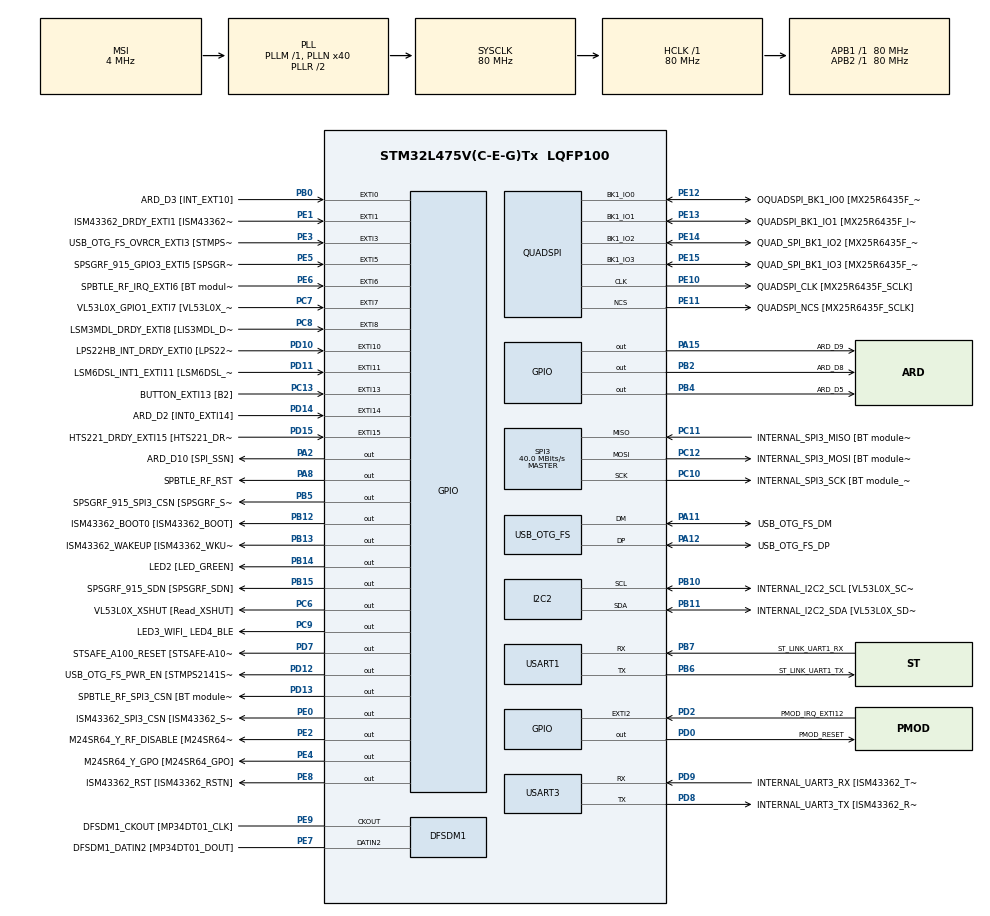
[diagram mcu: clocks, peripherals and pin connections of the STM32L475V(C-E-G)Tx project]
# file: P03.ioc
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I2C2.Timing=0x10909CEC
Mcu.Family=STM32L4
Mcu.Name=STM32L475V(C-E-G)Tx
Mcu.Package=LQFP100
NVIC.EXTI15_10_IRQn=true\:0\:0\:false\:false\:true\:true\:true\:true
NVIC.EXTI9_5_IRQn=true\:0\:0\:false\:false\:true\:true\:true\:true
NVIC.PriorityGroup=NVIC_PRIORITYGROUP_4
PA0.GPIO_Label=ARD_D1 [UART4_TX]
PA0.Signal=UART4_TX
PA1.GPIO_Label=ARD_D0 [UART4_RX]
PA1.Signal=UART4_RX
PA10.GPIO_Label=USB_OTG_FS_ID
PA10.Signal=USB_OTG_FS_ID
PA11.GPIO_Label=USB_OTG_FS_DM
PA11.Mode=Device_Only
PA11.Signal=USB_OTG_FS_DM
PA12.GPIO_Label=USB_OTG_FS_DP
PA12.Mode=Device_Only
PA12.Signal=USB_OTG_FS_DP
PA13\ (JTMS-SWDIO).GPIO_Label=SYS_JTMS_SWDIO
PA13\ (JTMS-SWDIO).Mode=Serial_Wire
PA13\ (JTMS-SWDIO).Signal=SYS_JTMS-SWDIO
PA14\ (JTCK-SWCLK).GPIO_Label=SYS_JTCK_SWCLK
PA14\ (JTCK-SWCLK).Mode=Serial_Wire
PA14\ (JTCK-SWCLK).Signal=SYS_JTCK-SWCLK
PA15\ (JTDI).GPIO_Label=ARD_D9
PA15\ (JTDI).Signal=GPIO_Output
PA2.GPIO_Label=ARD_D10 [SPI_SSN]
PA2.Signal=GPIO_Output
PA3.GPIO_Label=ARD_D4
PA3.Signal=S_TIM2_CH4
PA4.GPIO_Label=ARD_D7
PA4.Signal=ADCx_IN9
PA5.GPIO_Label=ARD_D13 [SPI1_SCK]
PA5.Signal=SPI1_SCK
PA6.GPIO_Label=ARD_D12 [SPI1_MISO]
PA6.Signal=SPI1_MISO
PA7.GPIO_Label=ARD_D11 [SPI1_MOSI]
PA7.Signal=SPI1_MOSI
PA8.GPIO_Label=SPBTLE_RF_RST
PA8.Signal=GPIO_Output
PA9.GPIO_Label=USB_OTG_FS_VBUS [STMPS2141STR_OUT]
PA9.Signal=USB_OTG_FS_VBUS
PB0.GPIO_Label=ARD_D3 [INT_EXT10]
PB0.Signal=GPXTI0
PB1.GPIO_Label=ARD_D6 [ADC1_IN6]
PB1.Signal=ADCx_IN16
PB10.GPIO_Label=INTERNAL_I2C2_SCL [VL53L0X_SCL]
PB10.GPIO_Pu=GPIO_PULLUP
PB10.Mode=I2C
PB10.Signal=I2C2_SCL
PB11.GPIO_Label=INTERNAL_I2C2_SDA [VL53L0X_SDA]
PB11.GPIO_Pu=GPIO_PULLUP
PB11.Mode=I2C
PB11.Signal=I2C2_SDA
PB12.GPIO_Label=ISM43362_BOOT0 [ISM43362_BOOT]
PB12.Signal=GPIO_Output
PB13.GPIO_Label=ISM43362_WAKEUP [ISM43362_WKUP]
PB13.Signal=GPIO_Output
PB14.GPIO_Label=LED2 [LED_GREEN]
PB14.Signal=GPIO_Output
PB15.GPIO_Label=SPSGRF_915_SDN [SPSGRF_SDN]
PB15.Signal=GPIO_Output
PB2.GPIO_Label=ARD_D8
PB2.Signal=GPIO_Output
PB3\ (JTDO-TRACESWO).GPIO_Label=SYS_JTD0_SWO
PB3\ (JTDO-TRACESWO).Signal=SYS_JTDO-SWO
PB4\ (NJTRST).GPIO_Label=ARD_D5
PB4\ (NJTRST).Signal=GPIO_Output
PB5.GPIO_Label=SPSGRF_915_SPI3_CSN [SPSGRF_SPI_CS]
PB5.PinState=GPIO_PIN_SET
PB5.Signal=GPIO_Output
PB6.GPIO_Label=ST_LINK_UART1_TX
PB6.Mode=Asynchronous
PB6.Signal=USART1_TX
PB7.GPIO_Label=ST_LINK_UART1_RX
PB7.Mode=Asynchronous
PB7.Signal=USART1_RX
PB8.GPIO_Label=ARD_D15 [I2C1_SCL]
PB8.Signal=I2C1_SCL
PB9.GPIO_Label=ARD_D14 [I2C1_SDA]
PB9.Signal=I2C1_SDA
PC0.GPIO_Label=ARD_A5 [ADC]
PC0.Signal=ADCx_IN1
PC1.GPIO_Label=ARD_A4 [ADC]
PC1.Signal=ADCx_IN2
PC10.GPIO_Label=INTERNAL_SPI3_SCK [BT module_SPI_SCLK] [ISM43362_SCK]
PC10.Mode=Full_Duplex_Master
PC10.Signal=SPI3_SCK
PC11.GPIO_Label=INTERNAL_SPI3_MISO [BT module_SPI_MISO] [ISM43362_MISO]
PC11.Mode=Full_Duplex_Master
PC11.Signal=SPI3_MISO
PC12.GPIO_Label=INTERNAL_SPI3_MOSI [BT module_SPI_MOSI] [ISM43362_MOSI]
PC12.Mode=Full_Duplex_Master
PC12.Signal=SPI3_MOSI
PC13.GPIO_Label=BUTTON_EXTI13 [B2]
PC13.GPIO_ModeDefaultEXTI=GPIO_MODE_IT_FALLING
PC13.Signal=GPXTI13
PC14-OSC32_IN\ (PC14).Mode=LSE-External-Oscillator
PC14-OSC32_IN\ (PC14).Signal=RCC_OSC32_IN
PC15-OSC32_OUT\ (PC15).Mode=LSE-External-Oscillator
PC15-OSC32_OUT\ (PC15).Signal=RCC_OSC32_OUT
PC2.GPIO_Label=ARD_A3 [ADC]
PC2.Signal=ADCx_IN3
PC3.GPIO_Label=ARD_A2 [ADC]
PC3.Signal=ADCx_IN4
PC4.GPIO_Label=ARD_A1 [ADC]
PC4.Signal=ADCx_IN13
PC5.GPIO_Label=ARD_A0 [ADC]
PC5.Signal=ADCx_IN14
PC6.GPIO_Label=VL53L0X_XSHUT [Read_XSHUT]
PC6.Signal=GPIO_Output
PC7.GPIO_Label=VL53L0X_GPIO1_EXTI7 [VL53L0X_GPIO1]
PC7.Signal=GPXTI7
PC8.GPIO_Label=LSM3MDL_DRDY_EXTI8 [LIS3MDL_DRDY]
PC8.Signal=GPXTI8
PC9.GPIO_Label=LED3_WIFI_ LED4_BLE
PC9.Signal=GPIO_Output
PD0.GPIO_Label=PMOD_RESET
PD0.Signal=GPIO_Output
PD1.GPIO_Label=PMOD_SPI2_SCK
PD1.Signal=SPI2_SCK
PD10.GPIO_Label=LPS22HB_INT_DRDY_EXTI0 [LPS22HB_INT_DRDY] 
PD10.Signal=GPXTI10
PD11.GPIO_Label=LSM6DSL_INT1_EXTI11 [LSM6DSL_INT1]
PD11.Signal=GPXTI11
PD12.GPIO_Label=USB_OTG_FS_PWR_EN [STMPS2141STR_EN]
PD12.Signal=GPIO_Output
PD13.GPIO_Label=SPBTLE_RF_SPI3_CSN [BT module_SPI_CS]
PD13.PinState=GPIO_PIN_SET
PD13.Signal=GPIO_Output
PD14.GPIO_Label=ARD_D2 [INT0_EXTI14]
PD14.Signal=GPXTI14
PD15.GPIO_Label=HTS221_DRDY_EXTI15 [HTS221_DRDY]
PD15.Signal=GPXTI15
PD2.GPIO_Label=PMOD_IRQ_EXTI12
PD2.Signal=GPXTI2
PD3.GPIO_Label=PMOD_UART2_CTS
PD3.Signal=USART2_CTS
PD4.GPIO_Label=PMOD_UART2_RTS
PD4.Signal=USART2_RTS
PD5.GPIO_Label=PMOD_UART2_TX
PD5.Signal=USART2_TX
PD6.GPIO_Label=PMOD_UART2_RX
PD6.Signal=USART2_RX
PD7.GPIO_Label=STSAFE_A100_RESET [STSAFE-A100_RESET]
PD7.Signal=GPIO_Output
PD8.GPIO_Label=INTERNAL_UART3_TX [ISM43362_RX]
PD8.Mode=Asynchronous
PD8.Signal=USART3_TX
PD9.GPIO_Label=INTERNAL_UART3_RX [ISM43362_TX]
PD9.Mode=Asynchronous
PD9.Signal=USART3_RX
PE0.GPIO_Label=ISM43362_SPI3_CSN [ISM43362_SSN]
PE0.PinState=GPIO_PIN_SET
PE0.Signal=GPIO_Output
PE1.GPIO_Label=ISM43362_DRDY_EXTI1 [ISM43362_DATARDY]
PE1.Signal=GPXTI1
PE10.GPIO_Label=QUADSPI_CLK [MX25R6435F_SCLK]
PE10.Mode=Single Bank
PE10.Signal=QUADSPI_CLK
PE11.GPIO_Label=QUADSPI_NCS [MX25R6435F_SCLK]
PE11.Mode=Single Bank
PE11.Signal=QUADSPI_NCS
PE12.GPIO_Label=OQUADSPI_BK1_IO0 [MX25R6435F_IO0]
PE12.Mode=Single Bank
PE12.Signal=QUADSPI_BK1_IO0
PE13.GPIO_Label=QUADSPI_BK1_IO1 [MX25R6435F_IO1]
PE13.Mode=Single Bank
PE13.Signal=QUADSPI_BK1_IO1
PE14.GPIO_Label=QUAD_SPI_BK1_IO2 [MX25R6435F_IO2]
PE14.Mode=Single Bank
PE14.Signal=QUADSPI_BK1_IO2
PE15.GPIO_Label=QUAD_SPI_BK1_IO3 [MX25R6435F_IO3]
PE15.Mode=Single Bank
PE15.Signal=QUADSPI_BK1_IO3
PE2.GPIO_Label=M24SR64_Y_RF_DISABLE [M24SR64_RFDIS]
PE2.Signal=GPIO_Output
PE3.GPIO_Label=USB_OTG_FS_OVRCR_EXTI3 [STMPS2141STR_FAULT]
PE3.Signal=GPXTI3
PE4.GPIO_Label=M24SR64_Y_GPO [M24SR64_GPO]
PE4.Signal=GPIO_Output
PE5.GPIO_Label=SPSGRF_915_GPIO3_EXTI5 [SPSGRF_GPIO_3]
PE5.Signal=GPXTI5
PE6.GPIO_Label=SPBTLE_RF_IRQ_EXTI6 [BT module_SPI_IRQ]
PE6.Signal=GPXTI6
PE7.GPIO_Label=DFSDM1_DATIN2 [MP34DT01_DOUT]
PE7.Signal=S_DATAIN2DFSDM1
PE8.GPIO_Label=ISM43362_RST [ISM43362_RSTN]
PE8.Signal=GPIO_Output
PE9.GPIO_Label=DFSDM1_CKOUT [MP34DT01_CLK]
PE9.Signal=S_CKOUTDFSDM1
ProjectManager.HeapSize=0x200
ProjectManager.StackSize=0x400
ProjectManager.TargetToolchain=STM32CubeIDE
QUADSPI.ClockPrescaler=2
QUADSPI.FifoThreshold=4
QUADSPI.FlashSize=23
QUADSPI.SampleShifting=QSPI_SAMPLE_SHIFTING_HALFCYCLE
RCC.ADCFreq_Value=48000000
RCC.AHBFreq_Value=80000000
RCC.APB1Freq_Value=80000000
RCC.APB1TimFreq_Value=80000000
RCC.APB2Freq_Value=80000000
RCC.APB2TimFreq_Value=80000000
RCC.CortexFreq_Value=80000000
RCC.HCLKFreq_Value=80000000
RCC.HSE_VALUE=8000000
RCC.HSI_VALUE=16000000
RCC.MSI_VALUE=4000000
RCC.PLLN=40
RCC.PLLSAI1N=24
RCC.SYSCLKFreq_VALUE=80000000
RCC.SYSCLKSource=RCC_SYSCLKSOURCE_PLLCLK
RCC.USBFreq_Value=48000000
RCC.VCOOutputFreq_Value=160000000
SH.ADCx_IN1.0=ADC1_IN1
SH.ADCx_IN13.0=ADC1_IN13
SH.ADCx_IN14.0=ADC1_IN14
SH.ADCx_IN16.0=ADC1_IN16
SH.ADCx_IN2.0=ADC1_IN2
SH.ADCx_IN3.0=ADC1_IN3
SH.ADCx_IN4.0=ADC1_IN4
SH.ADCx_IN9.0=ADC1_IN9
SH.S_CKOUTDFSDM1.0=DFSDM1_CKOUT,CKOUT
SH.S_CKOUTDFSDM1.1=DFSDM1_CKOUT,PDM_SPI_Input_from_ch12_and_Internal_Clock
SH.S_DATAIN2DFSDM1.0=DFSDM1_DATIN2,PDM_SPI_Input_from_ch12_and_Internal_Clock
SH.S_TIM2_CH4.0=TIM2_CH4
SPI3.CalculateBaudRate=40.0 MBits/s
SPI3.Direction=SPI_DIRECTION_2LINES
SPI3.Mode=SPI_MODE_MASTER
SPI3.VirtualType=VM_MASTER
USART1.VirtualMode-Asynchronous=VM_ASYNC
USART3.VirtualMode-Asynchronous=VM_ASYNC
USB_OTG_FS.VirtualMode=Device_Only
board=B-L475E-IOT01A1

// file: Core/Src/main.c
/* USER CODE BEGIN Header */
/**
  ******************************************************************************
  * @file           : main.c
  * @brief          : Main program body
  ******************************************************************************
  * @attention
  *
  * Copyright (c) 2024 STMicroelectronics.
  * All rights reserved.
  *
  * This software is licensed under terms that can be found in the LICENSE file
  * in the root directory of this software component.
  * If no LICENSE file comes with this software, it is provided AS-IS.
  *
  ******************************************************************************
  */
/* USER CODE END Header */
#include "main.h"

DFSDM_Channel_HandleTypeDef hdfsdm1_channel1;

I2C_HandleTypeDef hi2c2;

QSPI_HandleTypeDef hqspi;

SPI_HandleTypeDef hspi3;

UART_HandleTypeDef huart1;
UART_HandleTypeDef huart3;

PCD_HandleTypeDef hpcd_USB_OTG_FS;

void SystemClock_Config(void);
static void MX_GPIO_Init(void);
static void MX_DFSDM1_Init(void);
static void MX_I2C2_Init(void);
static void MX_QUADSPI_Init(void);
static void MX_SPI3_Init(void);
static void MX_USART1_UART_Init(void);
static void MX_USART3_UART_Init(void);
static void MX_USB_OTG_FS_PCD_Init(void);

/* USER CODE BEGIN 0 */
int __io_putchar(int ch){
	while(HAL_OK != HAL_UART_Transmit(&huart1, &ch, 1, 30000)){
		;
	}
	return ch;
}

int getChar1(void){
	uint8_t ch = 0;
	while(HAL_OK != HAL_UART_Receive(&huart1, &ch,1,30000)){
		;
	}
	return ch;
}

void PressTest(void){
	float press_val=0;

	BSP_PSENSOR_Init();
	while(1){
		press_val=BSP_PSENSOR_ReadPressure();
		printf("PRESSURE is = %.2f mBar \n\r", press_val);
		HAL_Delay(3000);
	}
}

void HumTest(void){
	float hum_val=0;

	BSP_HSENSOR_Init();
	while(1){
		hum_val=BSP_HSENSOR_ReadHumidity();
		printf("HUMIDITY is= %.2f %%\n\r", hum_val);
		HAL_Delay(3000);
	}
}

void TempTest(void){
	float temp_val=0;

	BSP_TSENSOR_Init();
	while(1){
		temp_val=BSP_TSENSOR_ReadTemp();
		printf("TEMPERATURE is = %.2f ºC\n\r", temp_val);
		HAL_Delay(3000);
	}
}

void AccelTest(void){
	int16_t pDataXYZ[3]={0};
	BSP_ACCELERO_Init();

	while(1){
		BSP_ACCELERO_AccGetXYZ(pDataXYZ);
		printf("X=%d, Y=%d, Z=%d \n\r", pDataXYZ[0], pDataXYZ[1], pDataXYZ[2]);
		HAL_Delay(3000);
	}

	BSP_ACCELERO_DeInit();
	printf("\n*** End of Accelerometer Test ***\n\n");
	return;
}

void GyroTest(void){
	float pGyroData[3]={0};
	BSP_GYRO_Init();

	while(1){
		BSP_GYRO_GetXYZ(pGyroData);
		printf("GYRO_X= %.2f \n\r", pGyroData[0]);
		printf("GYRO_Y= %.2f \n\r", pGyroData[1]);
		printf("GYRO_Z= %.2f \n\r", pGyroData[2]);
		HAL_Delay(3000);
	}
	BSP_GYRO_DeInit();
	printf("\n*** End of Gyro Test ***\n\n");
	return;
}

void MagnetTest(void){
	int16_t pData[3]={0};
	BSP_MAGNETO_Init();

	while(1){
		BSP_MAGNETO_GetXYZ(pData);
		printf("MAGNETO_X= %d \n\r", pData[0]);
		printf("MAGNETO_Y= %d \n\r", pData[1]);
		printf("MAGNETO_Z= %d \n\r", pData[2]);
		HAL_Delay(3000);
	}
	BSP_MAGNETO_DeInit();
	printf("\n*** End of Magneto Test ***\n\n");
	return;
}
/* USER CODE END 0 */

int main(void)
{

  /* MCU Configuration--------------------------------------------------------*/

  /* Reset of all peripherals, Initializes the Flash interface and the Systick. */
  HAL_Init();

  /* Configure the system clock */
  SystemClock_Config();

  /* Initialize all configured peripherals */
  MX_GPIO_Init();
  MX_DFSDM1_Init();
  MX_I2C2_Init();
  MX_QUADSPI_Init();
  MX_SPI3_Init();
  MX_USART1_UART_Init();
  MX_USART3_UART_Init();
  MX_USB_OTG_FS_PCD_Init();
  /* USER CODE BEGIN 2 */
/*#ifdef __GNUC__

#define PUTCHAR_PROTOTYPE int __io_putchar(int ch)
#define GETCHAR_PROTOTYPE int __io_getchar(void)
#else
#define PUTCHAR_PROTOTYPE int fputc(int ch, FILE *f)
#define GETCHAR_PROTOTYPE int fgetc(FILE *f)
#endif /*__GNUC__*/
  /* USER CODE END 2 */

  /* Infinite loop */
  while (1)
  {

    /* USER CODE BEGIN 3 */
//	TempTest();
//	HumTest();
//	PressTest();
//	GyroTest();
//	MagnetTest(); //REVISAR
	AccelTest();
  }
  /* USER CODE END 3 */
}

void SystemClock_Config(void)
{
  RCC_OscInitTypeDef RCC_OscInitStruct = {0};
  RCC_ClkInitTypeDef RCC_ClkInitStruct = {0};

  /** Configure the main internal regulator output voltage
  */
  if (HAL_PWREx_ControlVoltageScaling(PWR_REGULATOR_VOLTAGE_SCALE1) != HAL_OK)
  {
    Error_Handler();
  }

  /** Configure LSE Drive Capability
  */
  HAL_PWR_EnableBkUpAccess();
  __HAL_RCC_LSEDRIVE_CONFIG(RCC_LSEDRIVE_LOW);

  /** Initializes the RCC Oscillators according to the specified parameters
  * in the RCC_OscInitTypeDef structure.
  */
  RCC_OscInitStruct.OscillatorType = RCC_OSCILLATORTYPE_LSE|RCC_OSCILLATORTYPE_MSI;
  RCC_OscInitStruct.LSEState = RCC_LSE_ON;
  RCC_OscInitStruct.MSIState = RCC_MSI_ON;
  RCC_OscInitStruct.MSICalibrationValue = 0;
  RCC_OscInitStruct.MSIClockRange = RCC_MSIRANGE_6;
  RCC_OscInitStruct.PLL.PLLState = RCC_PLL_ON;
  RCC_OscInitStruct.PLL.PLLSource = RCC_PLLSOURCE_MSI;
  RCC_OscInitStruct.PLL.PLLM = 1;
  RCC_OscInitStruct.PLL.PLLN = 40;
  RCC_OscInitStruct.PLL.PLLP = RCC_PLLP_DIV7;
  RCC_OscInitStruct.PLL.PLLQ = RCC_PLLQ_DIV2;
  RCC_OscInitStruct.PLL.PLLR = RCC_PLLR_DIV2;
  if (HAL_RCC_OscConfig(&RCC_OscInitStruct) != HAL_OK)
  {
    Error_Handler();
  }

  /** Initializes the CPU, AHB and APB buses clocks
  */
  RCC_ClkInitStruct.ClockType = RCC_CLOCKTYPE_HCLK|RCC_CLOCKTYPE_SYSCLK
                              |RCC_CLOCKTYPE_PCLK1|RCC_CLOCKTYPE_PCLK2;
  RCC_ClkInitStruct.SYSCLKSource = RCC_SYSCLKSOURCE_PLLCLK;
  RCC_ClkInitStruct.AHBCLKDivider = RCC_SYSCLK_DIV1;
  RCC_ClkInitStruct.APB1CLKDivider = RCC_HCLK_DIV1;
  RCC_ClkInitStruct.APB2CLKDivider = RCC_HCLK_DIV1;

  if (HAL_RCC_ClockConfig(&RCC_ClkInitStruct, FLASH_LATENCY_4) != HAL_OK)
  {
    Error_Handler();
  }

  /** Enable MSI Auto calibration
  */
  HAL_RCCEx_EnableMSIPLLMode();
}

static void MX_DFSDM1_Init(void)
{

  hdfsdm1_channel1.Instance = DFSDM1_Channel1;
  hdfsdm1_channel1.Init.OutputClock.Activation = ENABLE;
  hdfsdm1_channel1.Init.OutputClock.Selection = DFSDM_CHANNEL_OUTPUT_CLOCK_SYSTEM;
  hdfsdm1_channel1.Init.OutputClock.Divider = 2;
  hdfsdm1_channel1.Init.Input.Multiplexer = DFSDM_CHANNEL_EXTERNAL_INPUTS;
  hdfsdm1_channel1.Init.Input.DataPacking = DFSDM_CHANNEL_STANDARD_MODE;
  hdfsdm1_channel1.Init.Input.Pins = DFSDM_CHANNEL_FOLLOWING_CHANNEL_PINS;
  hdfsdm1_channel1.Init.SerialInterface.Type = DFSDM_CHANNEL_SPI_RISING;
  hdfsdm1_channel1.Init.SerialInterface.SpiClock = DFSDM_CHANNEL_SPI_CLOCK_INTERNAL;
  hdfsdm1_channel1.Init.Awd.FilterOrder = DFSDM_CHANNEL_FASTSINC_ORDER;
  hdfsdm1_channel1.Init.Awd.Oversampling = 1;
  hdfsdm1_channel1.Init.Offset = 0;
  hdfsdm1_channel1.Init.RightBitShift = 0x00;
  if (HAL_DFSDM_ChannelInit(&hdfsdm1_channel1) != HAL_OK)
  {
    Error_Handler();
  }

}

static void MX_I2C2_Init(void)
{

  hi2c2.Instance = I2C2;
  hi2c2.Init.Timing = 0x10909CEC;
  hi2c2.Init.OwnAddress1 = 0;
  hi2c2.Init.AddressingMode = I2C_ADDRESSINGMODE_7BIT;
  hi2c2.Init.DualAddressMode = I2C_DUALADDRESS_DISABLE;
  hi2c2.Init.OwnAddress2 = 0;
  hi2c2.Init.OwnAddress2Masks = I2C_OA2_NOMASK;
  hi2c2.Init.GeneralCallMode = I2C_GENERALCALL_DISABLE;
  hi2c2.Init.NoStretchMode = I2C_NOSTRETCH_DISABLE;
  if (HAL_I2C_Init(&hi2c2) != HAL_OK)
  {
    Error_Handler();
  }

  /** Configure Analogue filter
  */
  if (HAL_I2CEx_ConfigAnalogFilter(&hi2c2, I2C_ANALOGFILTER_ENABLE) != HAL_OK)
  {
    Error_Handler();
  }

  /** Configure Digital filter
  */
  if (HAL_I2CEx_ConfigDigitalFilter(&hi2c2, 0) != HAL_OK)
  {
    Error_Handler();
  }

}

static void MX_QUADSPI_Init(void)
{

  /* QUADSPI parameter configuration*/
  hqspi.Instance = QUADSPI;
  hqspi.Init.ClockPrescaler = 2;
  hqspi.Init.FifoThreshold = 4;
  hqspi.Init.SampleShifting = QSPI_SAMPLE_SHIFTING_HALFCYCLE;
  hqspi.Init.FlashSize = 23;
  hqspi.Init.ChipSelectHighTime = QSPI_CS_HIGH_TIME_1_CYCLE;
  hqspi.Init.ClockMode = QSPI_CLOCK_MODE_0;
  if (HAL_QSPI_Init(&hqspi) != HAL_OK)
  {
    Error_Handler();
  }

}

static void MX_SPI3_Init(void)
{

  /* SPI3 parameter configuration*/
  hspi3.Instance = SPI3;
  hspi3.Init.Mode = SPI_MODE_MASTER;
  hspi3.Init.Direction = SPI_DIRECTION_2LINES;
  hspi3.Init.DataSize = SPI_DATASIZE_4BIT;
  hspi3.Init.CLKPolarity = SPI_POLARITY_LOW;
  hspi3.Init.CLKPhase = SPI_PHASE_1EDGE;
  hspi3.Init.NSS = SPI_NSS_SOFT;
  hspi3.Init.BaudRatePrescaler = SPI_BAUDRATEPRESCALER_2;
  hspi3.Init.FirstBit = SPI_FIRSTBIT_MSB;
  hspi3.Init.TIMode = SPI_TIMODE_DISABLE;
  hspi3.Init.CRCCalculation = SPI_CRCCALCULATION_DISABLE;
  hspi3.Init.CRCPolynomial = 7;
  hspi3.Init.CRCLength = SPI_CRC_LENGTH_DATASIZE;
  hspi3.Init.NSSPMode = SPI_NSS_PULSE_ENABLE;
  if (HAL_SPI_Init(&hspi3) != HAL_OK)
  {
    Error_Handler();
  }

}

static void MX_USART1_UART_Init(void)
{

  huart1.Instance = USART1;
  huart1.Init.BaudRate = 115200;
  huart1.Init.WordLength = UART_WORDLENGTH_8B;
  huart1.Init.StopBits = UART_STOPBITS_1;
  huart1.Init.Parity = UART_PARITY_NONE;
  huart1.Init.Mode = UART_MODE_TX_RX;
  huart1.Init.HwFlowCtl = UART_HWCONTROL_NONE;
  huart1.Init.OverSampling = UART_OVERSAMPLING_16;
  huart1.Init.OneBitSampling = UART_ONE_BIT_SAMPLE_DISABLE;
  huart1.AdvancedInit.AdvFeatureInit = UART_ADVFEATURE_NO_INIT;
  if (HAL_UART_Init(&huart1) != HAL_OK)
  {
    Error_Handler();
  }

}

static void MX_USART3_UART_Init(void)
{

  huart3.Instance = USART3;
  huart3.Init.BaudRate = 115200;
  huart3.Init.WordLength = UART_WORDLENGTH_8B;
  huart3.Init.StopBits = UART_STOPBITS_1;
  huart3.Init.Parity = UART_PARITY_NONE;
  huart3.Init.Mode = UART_MODE_TX_RX;
  huart3.Init.HwFlowCtl = UART_HWCONTROL_NONE;
  huart3.Init.OverSampling = UART_OVERSAMPLING_16;
  huart3.Init.OneBitSampling = UART_ONE_BIT_SAMPLE_DISABLE;
  huart3.AdvancedInit.AdvFeatureInit = UART_ADVFEATURE_NO_INIT;
  if (HAL_UART_Init(&huart3) != HAL_OK)
  {
    Error_Handler();
  }

}

static void MX_USB_OTG_FS_PCD_Init(void)
{

  hpcd_USB_OTG_FS.Instance = USB_OTG_FS;
  hpcd_USB_OTG_FS.Init.dev_endpoints = 6;
  hpcd_USB_OTG_FS.Init.speed = PCD_SPEED_FULL;
  hpcd_USB_OTG_FS.Init.phy_itface = PCD_PHY_EMBEDDED;
  hpcd_USB_OTG_FS.Init.Sof_enable = DISABLE;
  hpcd_USB_OTG_FS.Init.low_power_enable = DISABLE;
  hpcd_USB_OTG_FS.Init.lpm_enable = DISABLE;
  hpcd_USB_OTG_FS.Init.battery_charging_enable = DISABLE;
  hpcd_USB_OTG_FS.Init.use_dedicated_ep1 = DISABLE;
  hpcd_USB_OTG_FS.Init.vbus_sensing_enable = DISABLE;
  if (HAL_PCD_Init(&hpcd_USB_OTG_FS) != HAL_OK)
  {
    Error_Handler();
  }

}

static void MX_GPIO_Init(void)
{
  GPIO_InitTypeDef GPIO_InitStruct = {0};

  /* GPIO Ports Clock Enable */
  __HAL_RCC_GPIOE_CLK_ENABLE();
  __HAL_RCC_GPIOC_CLK_ENABLE();
  __HAL_RCC_GPIOA_CLK_ENABLE();
  __HAL_RCC_GPIOB_CLK_ENABLE();
  __HAL_RCC_GPIOD_CLK_ENABLE();

  /*Configure GPIO pin Output Level */
  HAL_GPIO_WritePin(GPIOE, M24SR64_Y_RF_DISABLE_Pin|M24SR64_Y_GPO_Pin|ISM43362_RST_Pin, GPIO_PIN_RESET);

  /*Configure GPIO pin Output Level */
  HAL_GPIO_WritePin(GPIOA, ARD_D10_Pin|SPBTLE_RF_RST_Pin|ARD_D9_Pin, GPIO_PIN_RESET);

  /*Configure GPIO pin Output Level */
  HAL_GPIO_WritePin(GPIOB, ARD_D8_Pin|ISM43362_BOOT0_Pin|ISM43362_WAKEUP_Pin|LED2_Pin
                          |SPSGRF_915_SDN_Pin|ARD_D5_Pin, GPIO_PIN_RESET);

  /*Configure GPIO pin Output Level */
  HAL_GPIO_WritePin(GPIOD, USB_OTG_FS_PWR_EN_Pin|PMOD_RESET_Pin|STSAFE_A100_RESET_Pin, GPIO_PIN_RESET);

  /*Configure GPIO pin Output Level */
  HAL_GPIO_WritePin(SPBTLE_RF_SPI3_CSN_GPIO_Port, SPBTLE_RF_SPI3_CSN_Pin, GPIO_PIN_SET);

  /*Configure GPIO pin Output Level */
  HAL_GPIO_WritePin(GPIOC, VL53L0X_XSHUT_Pin|LED3_WIFI__LED4_BLE_Pin, GPIO_PIN_RESET);

  /*Configure GPIO pin Output Level */
  HAL_GPIO_WritePin(SPSGRF_915_SPI3_CSN_GPIO_Port, SPSGRF_915_SPI3_CSN_Pin, GPIO_PIN_SET);

  /*Configure GPIO pin Output Level */
  HAL_GPIO_WritePin(ISM43362_SPI3_CSN_GPIO_Port, ISM43362_SPI3_CSN_Pin, GPIO_PIN_SET);

  /*Configure GPIO pins : M24SR64_Y_RF_DISABLE_Pin M24SR64_Y_GPO_Pin ISM43362_RST_Pin ISM43362_SPI3_CSN_Pin */
  GPIO_InitStruct.Pin = M24SR64_Y_RF_DISABLE_Pin|M24SR64_Y_GPO_Pin|ISM43362_RST_Pin|ISM43362_SPI3_CSN_Pin;
  GPIO_InitStruct.Mode = GPIO_MODE_OUTPUT_PP;
  GPIO_InitStruct.Pull = GPIO_NOPULL;
  GPIO_InitStruct.Speed = GPIO_SPEED_FREQ_LOW;
  HAL_GPIO_Init(GPIOE, &GPIO_InitStruct);

  /*Configure GPIO pins : USB_OTG_FS_OVRCR_EXTI3_Pin SPSGRF_915_GPIO3_EXTI5_Pin SPBTLE_RF_IRQ_EXTI6_Pin ISM43362_DRDY_EXTI1_Pin */
  GPIO_InitStruct.Pin = USB_OTG_FS_OVRCR_EXTI3_Pin|SPSGRF_915_GPIO3_EXTI5_Pin|SPBTLE_RF_IRQ_EXTI6_Pin|ISM43362_DRDY_EXTI1_Pin;
  GPIO_InitStruct.Mode = GPIO_MODE_IT_RISING;
  GPIO_InitStruct.Pull = GPIO_NOPULL;
  HAL_GPIO_Init(GPIOE, &GPIO_InitStruct);

  /*Configure GPIO pin : BUTTON_EXTI13_Pin */
  GPIO_InitStruct.Pin = BUTTON_EXTI13_Pin;
  GPIO_InitStruct.Mode = GPIO_MODE_IT_FALLING;
  GPIO_InitStruct.Pull = GPIO_NOPULL;
  HAL_GPIO_Init(BUTTON_EXTI13_GPIO_Port, &GPIO_InitStruct);

  /*Configure GPIO pins : ARD_A5_Pin ARD_A4_Pin ARD_A3_Pin ARD_A2_Pin
                           ARD_A1_Pin ARD_A0_Pin */
  GPIO_InitStruct.Pin = ARD_A5_Pin|ARD_A4_Pin|ARD_A3_Pin|ARD_A2_Pin
                          |ARD_A1_Pin|ARD_A0_Pin;
  GPIO_InitStruct.Mode = GPIO_MODE_ANALOG_ADC_CONTROL;
  GPIO_InitStruct.Pull = GPIO_NOPULL;
  HAL_GPIO_Init(GPIOC, &GPIO_InitStruct);

  /*Configure GPIO pins : ARD_D1_Pin ARD_D0_Pin */
  GPIO_InitStruct.Pin = ARD_D1_Pin|ARD_D0_Pin;
  GPIO_InitStruct.Mode = GPIO_MODE_AF_PP;
  GPIO_InitStruct.Pull = GPIO_NOPULL;
  GPIO_InitStruct.Speed = GPIO_SPEED_FREQ_VERY_HIGH;
  GPIO_InitStruct.Alternate = GPIO_AF8_UART4;
  HAL_GPIO_Init(GPIOA, &GPIO_InitStruct);

  /*Configure GPIO pins : ARD_D10_Pin SPBTLE_RF_RST_Pin ARD_D9_Pin */
  GPIO_InitStruct.Pin = ARD_D10_Pin|SPBTLE_RF_RST_Pin|ARD_D9_Pin;
  GPIO_InitStruct.Mode = GPIO_MODE_OUTPUT_PP;
  GPIO_InitStruct.Pull = GPIO_NOPULL;
  GPIO_InitStruct.Speed = GPIO_SPEED_FREQ_LOW;
  HAL_GPIO_Init(GPIOA, &GPIO_InitStruct);

  /*Configure GPIO pin : ARD_D4_Pin */
  GPIO_InitStruct.Pin = ARD_D4_Pin;
  GPIO_InitStruct.Mode = GPIO_MODE_AF_PP;
  GPIO_InitStruct.Pull = GPIO_NOPULL;
  GPIO_InitStruct.Speed = GPIO_SPEED_FREQ_LOW;
  GPIO_InitStruct.Alternate = GPIO_AF1_TIM2;
  HAL_GPIO_Init(ARD_D4_GPIO_Port, &GPIO_InitStruct);

  /*Configure GPIO pin : ARD_D7_Pin */
  GPIO_InitStruct.Pin = ARD_D7_Pin;
  GPIO_InitStruct.Mode = GPIO_MODE_ANALOG_ADC_CONTROL;
  GPIO_InitStruct.Pull = GPIO_NOPULL;
  HAL_GPIO_Init(ARD_D7_GPIO_Port, &GPIO_InitStruct);

  /*Configure GPIO pins : ARD_D13_Pin ARD_D12_Pin ARD_D11_Pin */
  GPIO_InitStruct.Pin = ARD_D13_Pin|ARD_D12_Pin|ARD_D11_Pin;
  GPIO_InitStruct.Mode = GPIO_MODE_AF_PP;
  GPIO_InitStruct.Pull = GPIO_NOPULL;
  GPIO_InitStruct.Speed = GPIO_SPEED_FREQ_VERY_HIGH;
  GPIO_InitStruct.Alternate = GPIO_AF5_SPI1;
  HAL_GPIO_Init(GPIOA, &GPIO_InitStruct);

  /*Configure GPIO pin : ARD_D3_Pin */
  GPIO_InitStruct.Pin = ARD_D3_Pin;
  GPIO_InitStruct.Mode = GPIO_MODE_IT_RISING;
  GPIO_InitStruct.Pull = GPIO_NOPULL;
  HAL_GPIO_Init(ARD_D3_GPIO_Port, &GPIO_InitStruct);

  /*Configure GPIO pin : ARD_D6_Pin */
  GPIO_InitStruct.Pin = ARD_D6_Pin;
  GPIO_InitStruct.Mode = GPIO_MODE_ANALOG_ADC_CONTROL;
  GPIO_InitStruct.Pull = GPIO_NOPULL;
  HAL_GPIO_Init(ARD_D6_GPIO_Port, &GPIO_InitStruct);

  /*Configure GPIO pins : ARD_D8_Pin ISM43362_BOOT0_Pin ISM43362_WAKEUP_Pin LED2_Pin
                           SPSGRF_915_SDN_Pin ARD_D5_Pin SPSGRF_915_SPI3_CSN_Pin */
  GPIO_InitStruct.Pin = ARD_D8_Pin|ISM43362_BOOT0_Pin|ISM43362_WAKEUP_Pin|LED2_Pin
                          |SPSGRF_915_SDN_Pin|ARD_D5_Pin|SPSGRF_915_SPI3_CSN_Pin;
  GPIO_InitStruct.Mode = GPIO_MODE_OUTPUT_PP;
  GPIO_InitStruct.Pull = GPIO_NOPULL;
  GPIO_InitStruct.Speed = GPIO_SPEED_FREQ_LOW;
  HAL_GPIO_Init(GPIOB, &GPIO_InitStruct);

  /*Configure GPIO pins : LPS22HB_INT_DRDY_EXTI0_Pin LSM6DSL_INT1_EXTI11_Pin ARD_D2_Pin HTS221_DRDY_EXTI15_Pin
                           PMOD_IRQ_EXTI12_Pin */
  GPIO_InitStruct.Pin = LPS22HB_INT_DRDY_EXTI0_Pin|LSM6DSL_INT1_EXTI11_Pin|ARD_D2_Pin|HTS221_DRDY_EXTI15_Pin
                          |PMOD_IRQ_EXTI12_Pin;
  GPIO_InitStruct.Mode = GPIO_MODE_IT_RISING;
  GPIO_InitStruct.Pull = GPIO_NOPULL;
  HAL_GPIO_Init(GPIOD, &GPIO_InitStruct);

  /*Configure GPIO pins : USB_OTG_FS_PWR_EN_Pin SPBTLE_RF_SPI3_CSN_Pin PMOD_RESET_Pin STSAFE_A100_RESET_Pin */
  GPIO_InitStruct.Pin = USB_OTG_FS_PWR_EN_Pin|SPBTLE_RF_SPI3_CSN_Pin|PMOD_RESET_Pin|STSAFE_A100_RESET_Pin;
  GPIO_InitStruct.Mode = GPIO_MODE_OUTPUT_PP;
  GPIO_InitStruct.Pull = GPIO_NOPULL;
  GPIO_InitStruct.Speed = GPIO_SPEED_FREQ_LOW;
  HAL_GPIO_Init(GPIOD, &GPIO_InitStruct);

  /*Configure GPIO pins : VL53L0X_XSHUT_Pin LED3_WIFI__LED4_BLE_Pin */
  GPIO_InitStruct.Pin = VL53L0X_XSHUT_Pin|LED3_WIFI__LED4_BLE_Pin;
  GPIO_InitStruct.Mode = GPIO_MODE_OUTPUT_PP;
  GPIO_InitStruct.Pull = GPIO_NOPULL;
  GPIO_InitStruct.Speed = GPIO_SPEED_FREQ_LOW;
  HAL_GPIO_Init(GPIOC, &GPIO_InitStruct);

  /*Configure GPIO pins : VL53L0X_GPIO1_EXTI7_Pin LSM3MDL_DRDY_EXTI8_Pin */
  GPIO_InitStruct.Pin = VL53L0X_GPIO1_EXTI7_Pin|LSM3MDL_DRDY_EXTI8_Pin;
  GPIO_InitStruct.Mode = GPIO_MODE_IT_RISING;
  GPIO_InitStruct.Pull = GPIO_NOPULL;
  HAL_GPIO_Init(GPIOC, &GPIO_InitStruct);

  /*Configure GPIO pin : PMOD_SPI2_SCK_Pin */
  GPIO_InitStruct.Pin = PMOD_SPI2_SCK_Pin;
  GPIO_InitStruct.Mode = GPIO_MODE_AF_PP;
  GPIO_InitStruct.Pull = GPIO_NOPULL;
  GPIO_InitStruct.Speed = GPIO_SPEED_FREQ_VERY_HIGH;
  GPIO_InitStruct.Alternate = GPIO_AF5_SPI2;
  HAL_GPIO_Init(PMOD_SPI2_SCK_GPIO_Port, &GPIO_InitStruct);

  /*Configure GPIO pins : PMOD_UART2_CTS_Pin PMOD_UART2_RTS_Pin PMOD_UART2_TX_Pin PMOD_UART2_RX_Pin */
  GPIO_InitStruct.Pin = PMOD_UART2_CTS_Pin|PMOD_UART2_RTS_Pin|PMOD_UART2_TX_Pin|PMOD_UART2_RX_Pin;
  GPIO_InitStruct.Mode = GPIO_MODE_AF_PP;
  GPIO_InitStruct.Pull = GPIO_NOPULL;
  GPIO_InitStruct.Speed = GPIO_SPEED_FREQ_VERY_HIGH;
  GPIO_InitStruct.Alternate = GPIO_AF7_USART2;
  HAL_GPIO_Init(GPIOD, &GPIO_InitStruct);

  /*Configure GPIO pins : ARD_D15_Pin ARD_D14_Pin */
  GPIO_InitStruct.Pin = ARD_D15_Pin|ARD_D14_Pin;
  GPIO_InitStruct.Mode = GPIO_MODE_AF_OD;
  GPIO_InitStruct.Pull = GPIO_NOPULL;
  GPIO_InitStruct.Speed = GPIO_SPEED_FREQ_VERY_HIGH;
  GPIO_InitStruct.Alternate = GPIO_AF4_I2C1;
  HAL_GPIO_Init(GPIOB, &GPIO_InitStruct);

  /* EXTI interrupt init*/
  HAL_NVIC_SetPriority(EXTI9_5_IRQn, 0, 0);
  HAL_NVIC_EnableIRQ(EXTI9_5_IRQn);

  HAL_NVIC_SetPriority(EXTI15_10_IRQn, 0, 0);
  HAL_NVIC_EnableIRQ(EXTI15_10_IRQn);

}

void Error_Handler(void)
{
  __disable_irq();
  while (1)
  {
  }
}
